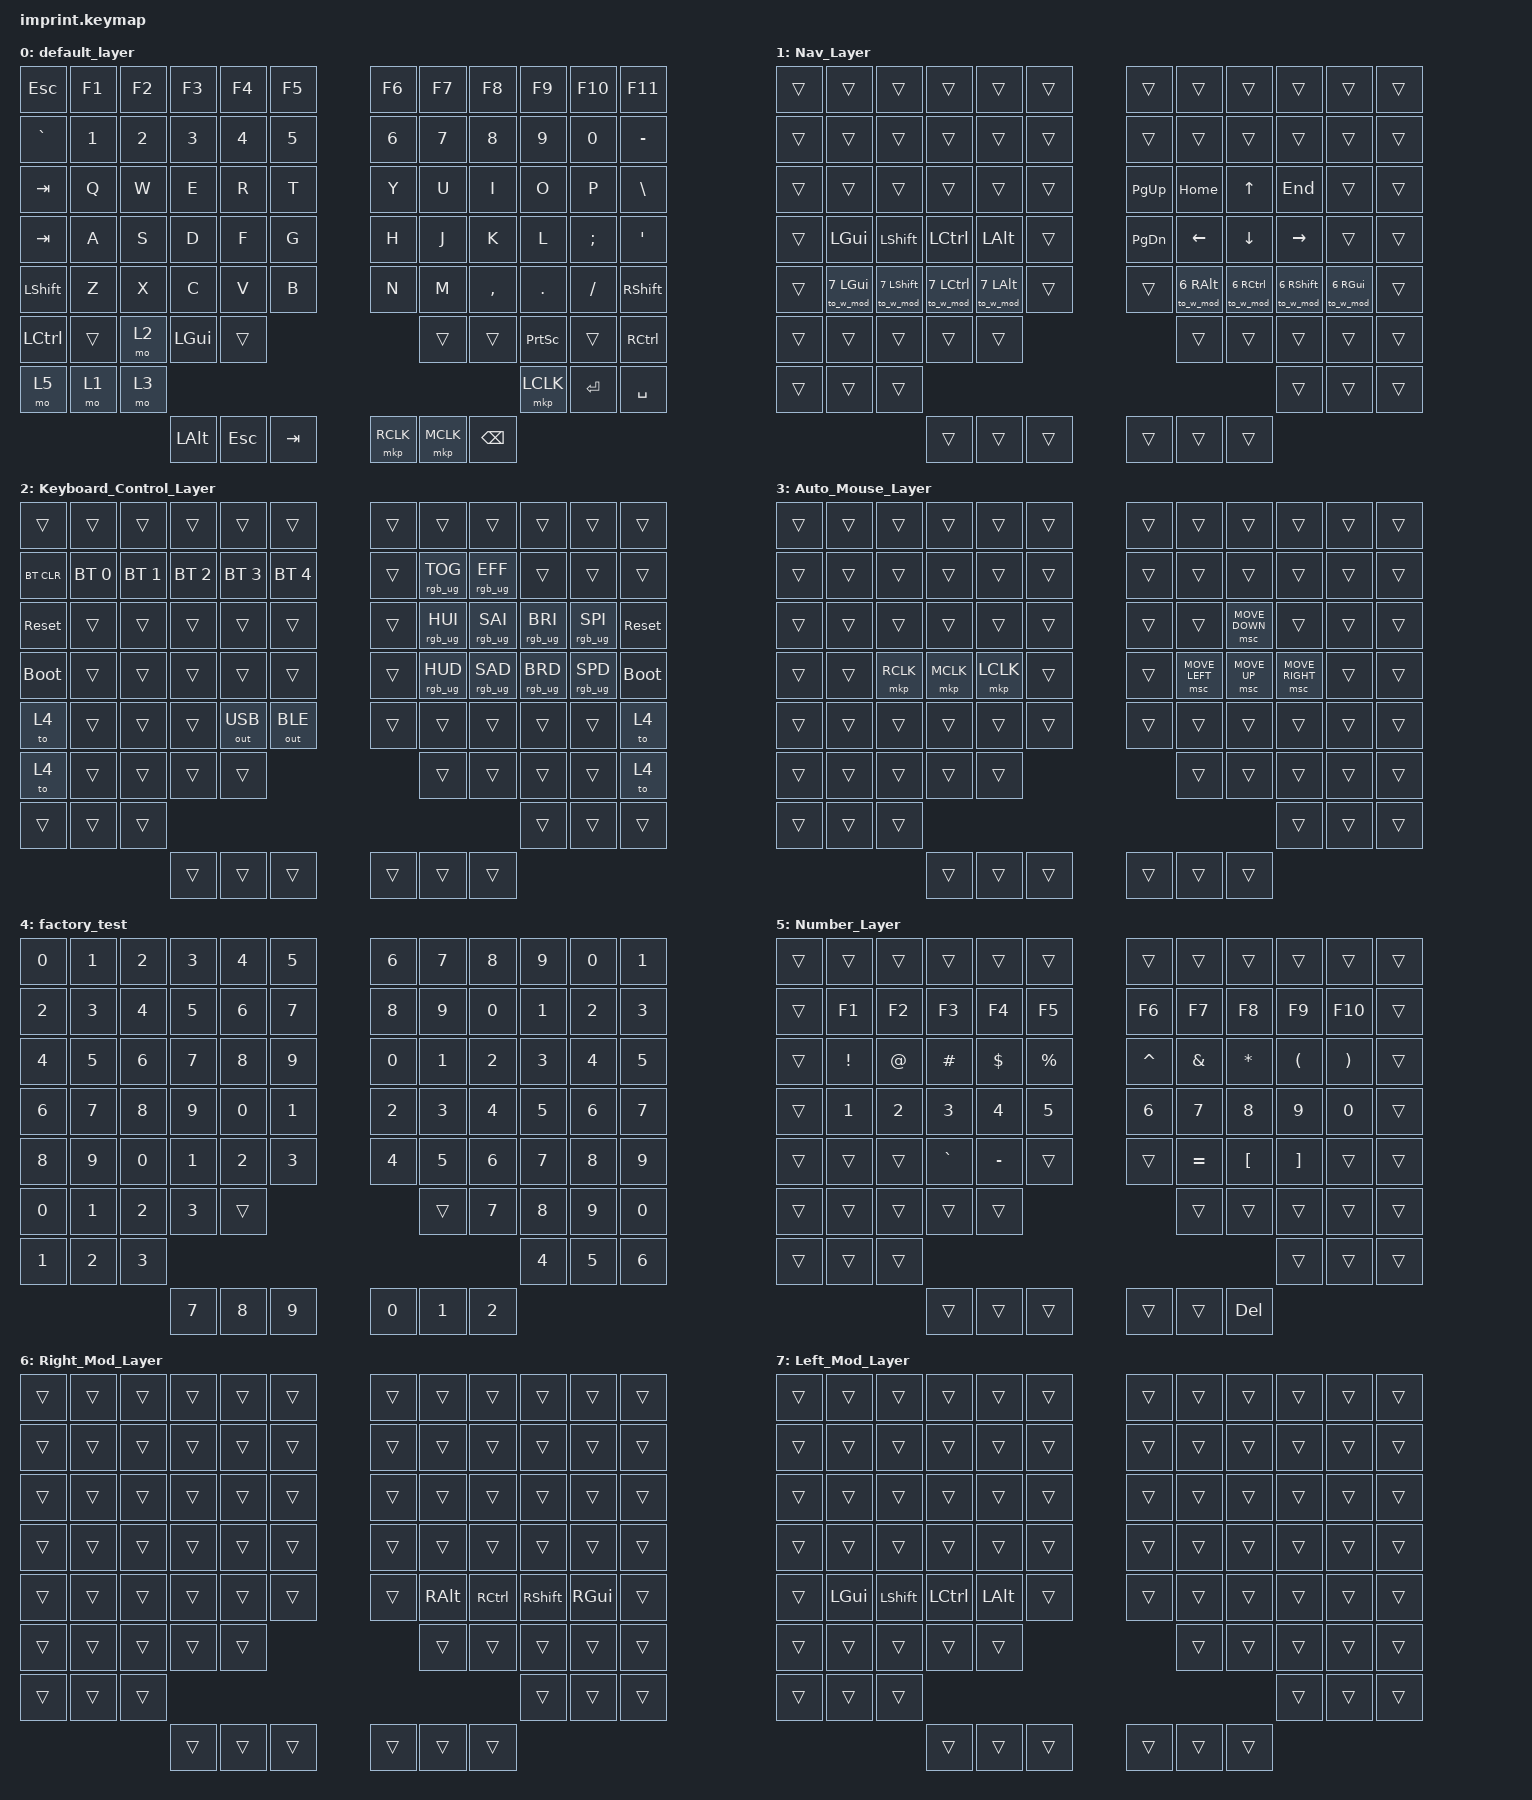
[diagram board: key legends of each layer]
#include <input/processors.dtsi>
#include <dt-bindings/zmk/input_transform.h>
#include <behaviors.dtsi>
#include <dt-bindings/zmk/bt.h>
#include <dt-bindings/zmk/keys.h>
#include <dt-bindings/zmk/outputs.h>
#include <dt-bindings/zmk/pointing.h>
#include <dt-bindings/zmk/rgb.h>

/ {
    chosen { zmk,matrix-transform = &imprint_function_row_full_bottom_row; };

    macros {
        mo_release_all: mo_release_all {
            compatible = "zmk,behavior-macro-one-param";
            #binding-cells = <1>;
            bindings =
                <&macro_param_1to1 &to MACRO_PLACEHOLDER>,
                <&macro_pause_for_release>,
                <&macro_release>,
                <&mo 1 &mo 2 &mo 3 &mo 4 &mo 5 &mo 6 &mo 7>;

            label = "MO_RELEASE_ALL";
        };

        to_w_mod: to_w_mod {
            compatible = "zmk,behavior-macro-two-param";
            #binding-cells = <2>;
            bindings =
                <&macro_param_1to1 &to MACRO_PLACEHOLDER>,
                <&macro_press>,
                <&macro_param_2to1 &kp MACRO_PLACEHOLDER>,
                <&macro_pause_for_release>,
                <&macro_release>,
                <&macro_param_2to1 &kp MACRO_PLACEHOLDER>;

            label = "TO_W_MOD";
        };
    };

    keymap {
        compatible = "zmk,keymap";

        default_layer {
            bindings = <
&kp ESC    &kp F1  &kp F2        &kp F3        &kp F4   &kp F5                        &kp F6         &kp F7  &kp F8    &kp F9           &kp F10   &kp F11
&kp GRAVE  &kp N1  &kp N2        &kp N3        &kp N4   &kp N5                        &kp N6         &kp N7  &kp N8    &kp N9           &kp N0    &kp MINUS
&kp TAB    &kp Q   &kp W         &kp E         &kp R    &kp T                         &kp Y          &kp U   &kp I     &kp O            &kp P     &kp BSLH
&kp TAB    &kp A   &kp S         &kp D         &kp F    &kp G                         &kp H          &kp J   &kp K     &kp L            &kp SEMI  &kp SQT
&kp LSHFT  &kp Z   &kp X         &kp C         &kp V    &kp B                         &kp N          &kp M   &kp COMMA &kp DOT          &kp FSLH  &kp RSHFT
&kp LCTRL  &trans  &mo 2         &kp LEFT_GUI  &trans                                                &trans  &trans    &kp PRINTSCREEN  &trans    &kp RIGHT_CONTROL
                   &mo 5         &mo 1         &mo 3            &mkp LCLK  &kp ENTER  &kp SPACE
                   &kp LEFT_ALT  &kp ESCAPE    &kp TAB          &mkp RCLK  &mkp MCLK  &kp BACKSPACE
            >;
        };

        Nav_Layer {
            bindings = <
&trans  &trans                &trans                  &trans             &trans                &trans                  &trans         &trans                 &trans             &trans                   &trans                 &trans
&trans  &trans                &trans                  &trans             &trans                &trans                  &trans         &trans                 &trans             &trans                   &trans                 &trans
&trans  &trans                &trans                  &trans             &trans                &trans                  &kp PAGE_UP    &kp HOME               &kp UP             &kp END                  &trans                 &trans
&trans  &kp LEFT_GUI          &kp LEFT_SHIFT          &kp LCTRL          &kp LEFT_ALT          &trans                  &kp PAGE_DOWN  &kp LEFT               &kp DOWN           &kp RIGHT                &trans                 &trans
&trans  &to_w_mod 7 LEFT_GUI  &to_w_mod 7 LEFT_SHIFT  &to_w_mod 7 LCTRL  &to_w_mod 7 LEFT_ALT  &trans                  &trans         &to_w_mod 6 RIGHT_ALT  &to_w_mod 6 RCTRL  &to_w_mod 6 RIGHT_SHIFT  &to_w_mod 6 RIGHT_GUI  &trans
&trans  &trans                &trans                  &trans             &trans                                                       &trans                 &trans             &trans                   &trans                 &trans
                              &trans                  &trans             &trans                        &trans  &trans  &trans
                              &trans                  &trans             &trans                        &trans  &trans  &trans
            >;
        };

        Keyboard_Control_Layer {
            bindings = <
&trans       &trans        &trans        &trans        &trans        &trans                        &trans  &trans           &trans           &trans           &trans           &trans
&bt BT_CLR   &bt BT_SEL 0  &bt BT_SEL 1  &bt BT_SEL 2  &bt BT_SEL 3  &bt BT_SEL 4                  &trans  &rgb_ug RGB_TOG  &rgb_ug RGB_EFF  &trans           &trans           &trans
&sys_reset   &trans        &trans        &trans        &trans        &trans                        &trans  &rgb_ug RGB_HUI  &rgb_ug RGB_SAI  &rgb_ug RGB_BRI  &rgb_ug RGB_SPI  &sys_reset
&bootloader  &trans        &trans        &trans        &trans        &trans                        &trans  &rgb_ug RGB_HUD  &rgb_ug RGB_SAD  &rgb_ug RGB_BRD  &rgb_ug RGB_SPD  &bootloader
&to 4        &trans        &trans        &trans        &out OUT_USB  &out OUT_BLE                  &trans  &trans           &trans           &trans           &trans           &to 4
&to 4        &trans        &trans        &trans        &trans                                              &trans           &trans           &trans           &trans           &to 4
                           &trans        &trans        &trans                      &trans  &trans  &trans
                           &trans        &trans        &trans                      &trans  &trans  &trans
            >;
        };

        Auto_Mouse_Layer {
            bindings = <
&trans  &trans  &trans     &trans     &trans     &trans                  &trans  &trans          &trans          &trans           &trans  &trans
&trans  &trans  &trans     &trans     &trans     &trans                  &trans  &trans          &trans          &trans           &trans  &trans
&trans  &trans  &trans     &trans     &trans     &trans                  &trans  &trans          &msc MOVE_DOWN  &trans           &trans  &trans
&trans  &trans  &mkp RCLK  &mkp MCLK  &mkp LCLK  &trans                  &trans  &msc MOVE_LEFT  &msc MOVE_UP    &msc MOVE_RIGHT  &trans  &trans
&trans  &trans  &trans     &trans     &trans     &trans                  &trans  &trans          &trans          &trans           &trans  &trans
&trans  &trans  &trans     &trans     &trans                                     &trans          &trans          &trans           &trans  &trans
                &trans     &trans     &trans             &trans  &trans  &trans
                &trans     &trans     &trans             &trans  &trans  &trans
            >;
        };

        factory_test {
            bindings = <
&kp N0  &kp N1  &kp N2  &kp N3  &kp N4  &kp N5                  &kp N6  &kp N7  &kp N8  &kp N9  &kp N0  &kp N1
&kp N2  &kp N3  &kp N4  &kp N5  &kp N6  &kp N7                  &kp N8  &kp N9  &kp N0  &kp N1  &kp N2  &kp N3
&kp N4  &kp N5  &kp N6  &kp N7  &kp N8  &kp N9                  &kp N0  &kp N1  &kp N2  &kp N3  &kp N4  &kp N5
&kp N6  &kp N7  &kp N8  &kp N9  &kp N0  &kp N1                  &kp N2  &kp N3  &kp N4  &kp N5  &kp N6  &kp N7
&kp N8  &kp N9  &kp N0  &kp N1  &kp N2  &kp N3                  &kp N4  &kp N5  &kp N6  &kp N7  &kp N8  &kp N9
&kp N0  &kp N1  &kp N2  &kp N3  &trans                                  &trans  &kp N7  &kp N8  &kp N9  &kp N0
                &kp N1  &kp N2  &kp N3          &kp N4  &kp N5  &kp N6
                &kp N7  &kp N8  &kp N9          &kp N0  &kp N1  &kp N2
            >;
        };

        Number_Layer {
            bindings = <
&trans  &trans           &trans       &trans     &trans      &trans                       &trans      &trans         &trans        &trans                &trans                 &trans
&trans  &kp F1           &kp F2       &kp F3     &kp F4      &kp F5                       &kp F6      &kp F7         &kp F8        &kp F9                &kp F10                &trans
&trans  &kp EXCLAMATION  &kp AT_SIGN  &kp POUND  &kp DOLLAR  &kp PERCENT                  &kp CARET   &kp AMPERSAND  &kp ASTERISK  &kp LEFT_PARENTHESIS  &kp RIGHT_PARENTHESIS  &trans
&trans  &kp N1           &kp N2       &kp N3     &kp N4      &kp N5                       &kp N6      &kp N7         &kp N8        &kp N9                &kp N0                 &trans
&trans  &trans           &trans       &kp GRAVE  &kp MINUS   &trans                       &trans      &kp EQUAL      &kp LBKT      &kp RBKT              &trans                 &trans
&trans  &trans           &trans       &trans     &trans                                               &trans         &trans        &trans                &trans                 &trans
                         &trans       &trans     &trans                   &trans  &trans  &trans
                         &trans       &trans     &trans                   &trans  &trans  &kp DELETE
            >;
        };

        Right_Mod_Layer {
            bindings = <
&trans  &trans  &trans  &trans  &trans  &trans                  &trans  &trans         &trans     &trans           &trans         &trans
&trans  &trans  &trans  &trans  &trans  &trans                  &trans  &trans         &trans     &trans           &trans         &trans
&trans  &trans  &trans  &trans  &trans  &trans                  &trans  &trans         &trans     &trans           &trans         &trans
&trans  &trans  &trans  &trans  &trans  &trans                  &trans  &trans         &trans     &trans           &trans         &trans
&trans  &trans  &trans  &trans  &trans  &trans                  &trans  &kp RIGHT_ALT  &kp RCTRL  &kp RIGHT_SHIFT  &kp RIGHT_GUI  &trans
&trans  &trans  &trans  &trans  &trans                                  &trans         &trans     &trans           &trans         &trans
                &trans  &trans  &trans          &trans  &trans  &trans
                &trans  &trans  &trans          &trans  &trans  &trans
            >;
        };

        Left_Mod_Layer {
            bindings = <
&trans  &trans        &trans          &trans     &trans        &trans                  &trans  &trans  &trans  &trans  &trans  &trans
&trans  &trans        &trans          &trans     &trans        &trans                  &trans  &trans  &trans  &trans  &trans  &trans
&trans  &trans        &trans          &trans     &trans        &trans                  &trans  &trans  &trans  &trans  &trans  &trans
&trans  &trans        &trans          &trans     &trans        &trans                  &trans  &trans  &trans  &trans  &trans  &trans
&trans  &kp LEFT_GUI  &kp LEFT_SHIFT  &kp LCTRL  &kp LEFT_ALT  &trans                  &trans  &trans  &trans  &trans  &trans  &trans
&trans  &trans        &trans          &trans     &trans                                        &trans  &trans  &trans  &trans  &trans
                      &trans          &trans     &trans                &trans  &trans  &trans
                      &trans          &trans     &trans                &trans  &trans  &trans
            >;
        };
    };
};

//right hand trackball configuration
&trackball_peripheral_listener {
    input-processors =
        // Reduce sensitiviy: multiply by 1, divide by 3 (make it slower).
        // OS usually only has a single setting for all mice/trackballs, so try to match
        // the input sensitivity to a normal mouse's.
        // Make sure to use the CONFIG_ZMK_POINTING_SMOOTH_SCROLLING=y for this to work better.
        <&zip_xy_scaler 1 2>;
        
        //// this gets it to the default installation orientation.
        //<&zip_xy_transform INPUT_TRANSFORM_XY_SWAP>,

        // activate layer 3 within 500ms of the trackball moving.
        // <&zip_temp_layer 3 500>;
};

//left hand trackball configuration
&trackball_central_listener {
    input-processors =
        //// this gets it to the default installation orientation.
        //<&zip_xy_transform INPUT_TRANSFORM_XY_SWAP>,
        
        // Multiply by 1, divide by 10 or 5.
        // Do not exceed 16 for either multiplier or divisor.
        // Much less sensitive horizontal scaling then vertical.
        // Make sure to use the CONFIG_ZMK_POINTING_SMOOTH_SCROLLING=y for these to work better.
        <&zip_x_scaler 1 10>,
        <&zip_y_scaler 1 5>,


        // Make the top of the trackball correspond to the object within the view. 
        // Y already acts this way by default, top of the trackball going up moves the page up and the view down,
        // but X does the opposite by default.
        <&zip_scroll_transform INPUT_TRANSFORM_X_INVERT>,

        // make this trackball output scrolling events by default instead of cursor movement.
        <&zip_xy_to_scroll_mapper>;
    
        //// invert vertical scrolling so that the view moves in the same direction as the top of the trackball.
        //<&zip_scroll_transform INPUT_TRANSFORM_Y_INVERT>;
};
